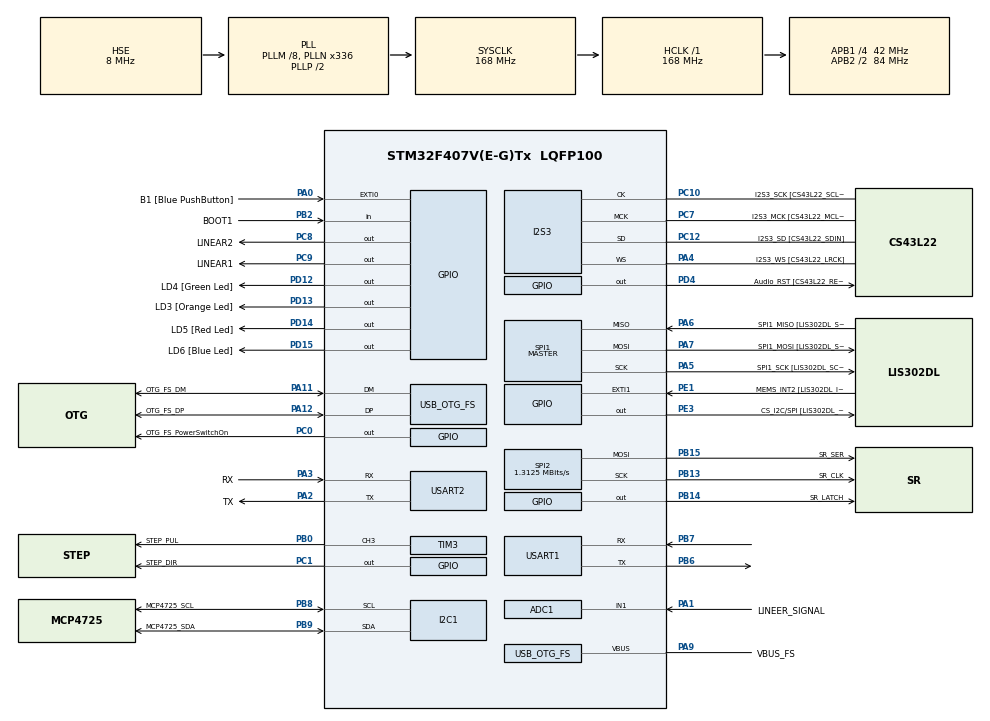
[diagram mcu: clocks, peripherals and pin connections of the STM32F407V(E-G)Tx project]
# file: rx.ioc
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ADC1.Channel-0\#ChannelRegularConversion=ADC_CHANNEL_1
ADC1.NbrOfConversionFlag=1
ADC1.Rank-0\#ChannelRegularConversion=1
ADC1.SamplingTime-0\#ChannelRegularConversion=ADC_SAMPLETIME_3CYCLES
ADC1.master=1
Dma.Request0=USART2_RX
Dma.USART2_RX.0.Direction=DMA_PERIPH_TO_MEMORY
Dma.USART2_RX.0.FIFOMode=DMA_FIFOMODE_DISABLE
Dma.USART2_RX.0.Instance=DMA1_Stream5
Dma.USART2_RX.0.MemDataAlignment=DMA_MDATAALIGN_BYTE
Dma.USART2_RX.0.MemInc=DMA_MINC_ENABLE
Dma.USART2_RX.0.Mode=DMA_NORMAL
Dma.USART2_RX.0.PeriphDataAlignment=DMA_PDATAALIGN_BYTE
Dma.USART2_RX.0.PeriphInc=DMA_PINC_DISABLE
Dma.USART2_RX.0.Priority=DMA_PRIORITY_LOW
FREERTOS.Tasks01=defaultTask,24,128,StartDefaultTask,Default,NULL,Dynamic,NULL,NULL
FREERTOS.configENABLE_FPU=1
I2S3.AudioFreq-Half_Duplex_Master=I2S_AUDIOFREQ_96K
I2S3.ErrorAudioFreq=-2.34 %
I2S3.ErrorAudioFreq-Half_Duplex_Master=0.8 %
I2S3.FullDuplexMode=I2S_FULLDUPLEXMODE_DISABLE
I2S3.Instance=SPI$Index
I2S3.RealAudioFreq=93.75 KHz
I2S3.RealAudioFreq-Half_Duplex_Master=96.774 KHz
I2S3.VirtualMode=I2S_MODE_MASTER
Mcu.Family=STM32F4
Mcu.Name=STM32F407V(E-G)Tx
Mcu.Package=LQFP100
NVIC.DMA1_Stream5_IRQn=true\:5\:0\:false\:false\:true\:true\:false\:true\:true
NVIC.OTG_FS_IRQn=true\:5\:0\:false\:false\:true\:true\:true\:true\:true
NVIC.PriorityGroup=NVIC_PRIORITYGROUP_4
NVIC.USART1_IRQn=true\:5\:0\:false\:false\:true\:true\:true\:true\:true
NVIC.USART2_IRQn=true\:5\:0\:false\:false\:true\:true\:true\:true\:true
PA0-WKUP.GPIO_Label=B1 [Blue PushButton]
PA0-WKUP.GPIO_ModeDefaultEXTI=GPIO_MODE_EVT_RISING
PA0-WKUP.GPIO_PuPd=GPIO_NOPULL
PA0-WKUP.Signal=GPXTI0
PA1.GPIO_Label=LINEER_SIGNAL
PA1.Signal=ADCx_IN1
PA10.GPIO_Label=OTG_FS_ID
PA10.GPIO_Mode=GPIO_MODE_AF_PP
PA10.GPIO_PuPd=GPIO_NOPULL
PA10.GPIO_Speed=GPIO_SPEED_FREQ_LOW
PA10.Signal=USB_OTG_FS_ID
PA11.GPIO_Label=OTG_FS_DM
PA11.GPIO_Mode=GPIO_MODE_AF_PP
PA11.GPIO_PuPd=GPIO_NOPULL
PA11.GPIO_Speed=GPIO_SPEED_FREQ_LOW
PA11.Mode=Host_Only
PA11.Signal=USB_OTG_FS_DM
PA12.GPIO_Label=OTG_FS_DP
PA12.GPIO_Mode=GPIO_MODE_AF_PP
PA12.GPIO_PuPd=GPIO_NOPULL
PA12.GPIO_Speed=GPIO_SPEED_FREQ_LOW
PA12.Mode=Host_Only
PA12.Signal=USB_OTG_FS_DP
PA13.GPIO_Label=SWDIO
PA13.Mode=Serial_Wire
PA13.Signal=SYS_JTMS-SWDIO
PA14.GPIO_Label=SWCLK
PA14.Mode=Serial_Wire
PA14.Signal=SYS_JTCK-SWCLK
PA2.GPIO_Label=TX
PA2.Mode=Asynchronous
PA2.Signal=USART2_TX
PA3.GPIO_Label=RX
PA3.Mode=Asynchronous
PA3.Signal=USART2_RX
PA4.GPIO_Label=I2S3_WS [CS43L22_LRCK]
PA4.GPIO_Mode=GPIO_MODE_AF_PP
PA4.GPIO_PuPd=GPIO_NOPULL
PA4.GPIO_Speed=GPIO_SPEED_FREQ_LOW
PA4.Mode=Half_Duplex_Master
PA4.Signal=I2S3_WS
PA5.GPIO_Label=SPI1_SCK [LIS302DL_SCL/SPC]
PA5.GPIO_Mode=GPIO_MODE_AF_PP
PA5.GPIO_PuPd=GPIO_NOPULL
PA5.GPIO_Speed=GPIO_SPEED_FREQ_LOW
PA5.Mode=Full_Duplex_Master
PA5.Signal=SPI1_SCK
PA6.GPIO_Label=SPI1_MISO [LIS302DL_SDO]
PA6.GPIO_Mode=GPIO_MODE_AF_PP
PA6.GPIO_PuPd=GPIO_NOPULL
PA6.GPIO_Speed=GPIO_SPEED_FREQ_LOW
PA6.Mode=Full_Duplex_Master
PA6.Signal=SPI1_MISO
PA7.GPIO_Label=SPI1_MOSI [LIS302DL_SDA/SDI/SDO]
PA7.GPIO_Mode=GPIO_MODE_AF_PP
PA7.GPIO_PuPd=GPIO_NOPULL
PA7.GPIO_Speed=GPIO_SPEED_FREQ_LOW
PA7.Mode=Full_Duplex_Master
PA7.Signal=SPI1_MOSI
PA9.GPIO_Label=VBUS_FS
PA9.GPIO_Mode=GPIO_MODE_INPUT
PA9.GPIO_PuPd=GPIO_NOPULL
PA9.Mode=Activate_VBUS
PA9.Signal=USB_OTG_FS_VBUS
PB0.GPIO_Label=STEP_PUL
PB0.Signal=S_TIM3_CH3
PB10.GPIO_Label=CLK_IN [MP45DT02_CLK]
PB10.GPIO_Mode=GPIO_MODE_AF_PP
PB10.GPIO_PuPd=GPIO_NOPULL
PB10.GPIO_Speed=GPIO_SPEED_FREQ_LOW
PB10.Signal=I2S2_CK
PB13.GPIO_Label=SR_CLK
PB13.Mode=TX_Only_Simplex_Unidirect_Master
PB13.Signal=SPI2_SCK
PB14.GPIO_Label=SR_LATCH
PB14.Signal=GPIO_Output
PB15.GPIO_Label=SR_SER
PB15.Mode=TX_Only_Simplex_Unidirect_Master
PB15.Signal=SPI2_MOSI
PB2.GPIO_Label=BOOT1
PB2.GPIO_Mode=GPIO_MODE_INPUT
PB2.GPIO_PuPd=GPIO_NOPULL
PB2.Signal=GPIO_Input
PB3.GPIO_Label=SWO
PB3.Signal=SYS_JTDO-SWO
PB6.Mode=Asynchronous
PB6.Signal=USART1_TX
PB7.Mode=Asynchronous
PB7.Signal=USART1_RX
PB8.GPIO_Label=MCP4725_SCL
PB8.Mode=I2C
PB8.Signal=I2C1_SCL
PB9.GPIO_Label=MCP4725_SDA
PB9.Mode=I2C
PB9.Signal=I2C1_SDA
PC0.GPIO_Label=OTG_FS_PowerSwitchOn
PC0.GPIO_PuPd=GPIO_NOPULL
PC0.GPIO_Speed=GPIO_SPEED_FREQ_LOW
PC0.PinState=GPIO_PIN_SET
PC0.Signal=GPIO_Output
PC1.GPIO_Label=STEP_DIR
PC1.Signal=GPIO_Output
PC10.GPIO_Label=I2S3_SCK [CS43L22_SCLK]
PC10.GPIO_Mode=GPIO_MODE_AF_PP
PC10.GPIO_PuPd=GPIO_NOPULL
PC10.GPIO_Speed=GPIO_SPEED_FREQ_LOW
PC10.Mode=Half_Duplex_Master
PC10.Signal=I2S3_CK
PC12.GPIO_Label=I2S3_SD [CS43L22_SDIN]
PC12.GPIO_Mode=GPIO_MODE_AF_PP
PC12.GPIO_PuPd=GPIO_NOPULL
PC12.GPIO_Speed=GPIO_SPEED_FREQ_LOW
PC12.Mode=Half_Duplex_Master
PC12.Signal=I2S3_SD
PC14-OSC32_IN.GPIO_Label=PC14-OSC32_IN
PC14-OSC32_IN.Mode=LSE-External-Oscillator
PC14-OSC32_IN.Signal=RCC_OSC32_IN
PC15-OSC32_OUT.GPIO_Label=PC15-OSC32_OUT
PC15-OSC32_OUT.Mode=LSE-External-Oscillator
PC15-OSC32_OUT.Signal=RCC_OSC32_OUT
PC3.GPIO_Label=PDM_OUT [MP45DT02_DOUT]
PC3.GPIO_Mode=GPIO_MODE_AF_PP
PC3.GPIO_PuPd=GPIO_NOPULL
PC3.GPIO_Speed=GPIO_SPEED_FREQ_LOW
PC3.Signal=I2S2_SD
PC7.GPIO_Label=I2S3_MCK [CS43L22_MCLK]
PC7.GPIO_Mode=GPIO_MODE_AF_PP
PC7.GPIO_PuPd=GPIO_NOPULL
PC7.GPIO_Speed=GPIO_SPEED_FREQ_LOW
PC7.Mode=Master_Clock_Activated
PC7.Signal=I2S3_MCK
PC8.GPIO_Label=LINEAR2
PC8.Signal=GPIO_Output
PC9.GPIO_Label=LINEAR1
PC9.Signal=GPIO_Output
PD12.GPIO_Label=LD4 [Green Led]
PD12.GPIO_PuPd=GPIO_NOPULL
PD12.GPIO_Speed=GPIO_SPEED_FREQ_LOW
PD12.Signal=GPIO_Output
PD13.GPIO_Label=LD3 [Orange Led]
PD13.GPIO_PuPd=GPIO_NOPULL
PD13.GPIO_Speed=GPIO_SPEED_FREQ_LOW
PD13.Signal=GPIO_Output
PD14.GPIO_Label=LD5 [Red Led]
PD14.GPIO_PuPd=GPIO_NOPULL
PD14.GPIO_Speed=GPIO_SPEED_FREQ_LOW
PD14.Signal=GPIO_Output
PD15.GPIO_Label=LD6 [Blue Led]
PD15.GPIO_PuPd=GPIO_NOPULL
PD15.GPIO_Speed=GPIO_SPEED_FREQ_LOW
PD15.Signal=GPIO_Output
PD4.GPIO_Label=Audio_RST [CS43L22_RESET]
PD4.GPIO_PuPd=GPIO_NOPULL
PD4.GPIO_Speed=GPIO_SPEED_FREQ_LOW
PD4.Signal=GPIO_Output
PE1.GPIO_Label=MEMS_INT2 [LIS302DL_INT2]
PE1.GPIO_ModeDefaultEXTI=GPIO_MODE_EVT_RISING
PE1.GPIO_PuPd=GPIO_NOPULL
PE1.Signal=GPXTI1
PE3.GPIO_Label=CS_I2C/SPI [LIS302DL_CS_I2C/SPI]
PE3.GPIO_PuPd=GPIO_NOPULL
PE3.GPIO_Speed=GPIO_SPEED_FREQ_LOW
PE3.Signal=GPIO_Output
PH0-OSC_IN.GPIO_Label=PH0-OSC_IN
PH0-OSC_IN.Mode=HSE-External-Oscillator
PH0-OSC_IN.Signal=RCC_OSC_IN
PH1-OSC_OUT.GPIO_Label=PH1-OSC_OUT
PH1-OSC_OUT.Mode=HSE-External-Oscillator
PH1-OSC_OUT.Signal=RCC_OSC_OUT
ProjectManager.HeapSize=0x200
ProjectManager.StackSize=0x400
ProjectManager.TargetToolchain=CMake
RCC.48MHZClocksFreq_Value=48000000
RCC.AHBFreq_Value=168000000
RCC.APB1CLKDivider=RCC_HCLK_DIV4
RCC.APB1Freq_Value=42000000
RCC.APB1TimFreq_Value=84000000
RCC.APB2CLKDivider=RCC_HCLK_DIV2
RCC.APB2Freq_Value=84000000
RCC.APB2TimFreq_Value=168000000
RCC.CortexFreq_Value=168000000
RCC.HCLKFreq_Value=168000000
RCC.HSE_VALUE=8000000
RCC.HSI_VALUE=16000000
RCC.PLLM=8
RCC.PLLN=336
RCC.PLLQ=7
RCC.SYSCLKFreq_VALUE=168000000
RCC.SYSCLKSource=RCC_SYSCLKSOURCE_PLLCLK
RCC.VCOOutputFreq_Value=336000000
SH.ADCx_IN1.0=ADC1_IN1,IN1
SH.S_TIM3_CH3.0=TIM3_CH3,PWM Generation3 CH3
SPI1.BaudRatePrescaler-Full_Duplex_Master=SPI_BAUDRATEPRESCALER_2
SPI1.CalculateBaudRate-Full_Duplex_Master=42.0 MBits/s
SPI1.Direction=SPI_DIRECTION_2LINES
SPI1.Mode=SPI_MODE_MASTER
SPI1.Mode-Full_Duplex_Master=SPI_MODE_MASTER
SPI1.VirtualType=VM_MASTER
SPI2.BaudRatePrescaler=SPI_BAUDRATEPRESCALER_32
SPI2.CalculateBaudRate=1.3125 MBits/s
SPI2.Direction=SPI_DIRECTION_2LINES
SPI2.Mode=SPI_MODE_MASTER
SPI2.VirtualType=VM_MASTER
TIM3.Channel-PWM\ Generation3\ CH3=TIM_CHANNEL_3
TIM3.Period=9
TIM3.Prescaler=83
USART1.VirtualMode=VM_ASYNC
USART2.VirtualMode=VM_ASYNC
USB_HOST.BSP.number=1
USB_HOST.USBH_HandleTypeDef-CDC_FS=hUsbHostFS
USB_HOST.VirtualModeFS=Cdc
USB_HOST0.BSP.STBoard=false
USB_HOST0.BSP.api=Unknown
USB_HOST0.BSP.instance=PC0
USB_HOST0.BSP.ip=GPIO
USB_HOST0.BSP.mode=Output
USB_HOST0.BSP.name=Drive_VBUS_FS
USB_HOST0.BSP.solution=PC0
USB_OTG_FS.VirtualMode=Host_Only
USB_OTG_FS.phy_itface=HCD_PHY_EMBEDDED
VP_FREERTOS_VS_CMSIS_V2.Mode=CMSIS_V2
VP_TIM3_VS_ClockSourceINT.Mode=Internal
VP_USB_HOST_VS_USB_HOST_CDC_FS.Mode=CDC_FS
board=STM32F407G-DISC1

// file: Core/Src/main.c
/* USER CODE BEGIN Header */
/**
  ******************************************************************************
  * @file           : main.c
  * @brief          : Main program body
  ******************************************************************************
  * @attention
  *
  * Copyright (c) 2026 STMicroelectronics.
  * All rights reserved.
  *
  * This software is licensed under terms that can be found in the LICENSE file
  * in the root directory of this software component.
  * If no LICENSE file comes with this software, it is provided AS-IS.
  *
  ******************************************************************************
  */
/* USER CODE END Header */
#include "main.h"
#include "cmsis_os.h"
#include "adc.h"
#include "dma.h"
#include "i2c.h"
#include "i2s.h"
#include "spi.h"
#include "tim.h"
#include "usart.h"
#include "usb_host.h"
#include "gpio.h"

/* USER CODE BEGIN Includes */
#include <stdio.h>
#include "rc.h"
/* USER CODE END Includes */

/* USER CODE BEGIN PV */

/* rcTask artik rc.c modulunde tanimli (RCInput_Init ile yaratiliyor). */

/* Definitions for debugTask: UART uzerinden durum yazdirma */
osThreadId_t debugTaskHandle;
const osThreadAttr_t debugTask_attributes = {
  .name = "debugTask",
  .stack_size = 256 * 4,
  .priority = (osPriority_t) osPriorityLow,
};

/* stepTask artik step_control.c modulunde (StepControl_Init ile yaratiliyor). */

/* USER CODE END PV */

void SystemClock_Config(void);
void MX_FREERTOS_Init(void);
/* USER CODE BEGIN PFP */
int __io_putchar(int ch)
{
  ITM_SendChar((uint32_t)ch);
  return ch;
}

/* Yardimci fonksiyonlar */
static void  DebugPrint(void);

/* Task fonksiyonlari */
void StartDebugTask(void *argument);
/* USER CODE END PFP */

/* USER CODE BEGIN 0 */

/* Task periyotlari (ms) - tek yerden ayarlanir */
#define DEBUG_TASK_PERIOD_MS    50u

/* USER CODE END 0 */

int main(void)
{

  /* MCU Configuration--------------------------------------------------------*/

  /* Reset of all peripherals, Initializes the Flash interface and the Systick. */
  HAL_Init();

  /* Configure the system clock */
  SystemClock_Config();

  /* USER CODE BEGIN SysInit */

  /* DWT cycle counter'i MX_GPIO_Init()'ten ONCE etkinlestiriyoruz.
     Sebep: MX_GPIO_Init() EXTI kesmelerini (RC kanal pinleri) aktif ediyor.
     DWT bundan once sayima baslamazsa, ilk gelen RC kenarlarinda
     HAL_GPIO_EXTI_Callback() icindeki DWT->CYCCNT hep 0 okunur ve
     pulse hesaplamasi yanlis/sifir cikar. Ayrica SystemClock_Config()'ten
     SONRA acildigi icin sayac doğru hizda (168 MHz) saymaya basliyor. */
  CoreDebug->DEMCR |= CoreDebug_DEMCR_TRCENA_Msk;
  DWT->CYCCNT = 0;
  DWT->CTRL  |= DWT_CTRL_CYCCNTENA_Msk;

  /* USER CODE END SysInit */

  /* Initialize all configured peripherals */
  MX_GPIO_Init();
  MX_DMA_Init();
  MX_I2C1_Init();
  MX_I2S3_Init();
  MX_SPI1_Init();
  MX_USART2_UART_Init();
  MX_ADC1_Init();
  MX_TIM3_Init();
  MX_SPI2_Init();
  MX_USART1_UART_Init();
  /* USER CODE BEGIN 2 */
  /* TIM3 CH3 PWM baslangic konfigurasyonu StepControl_Init() icinde yapiliyor. */
  setvbuf(stdout, NULL, _IONBF, 0);
  /* USER CODE END 2 */

  /* Init scheduler */
  osKernelInitialize();  /* Call init function for freertos objects (in cmsis_os2.c) */
  MX_FREERTOS_Init();

  /* Start scheduler */
  osKernelStart();

  /* We should never get here as control is now taken by the scheduler */

  /* Infinite loop */
  while (1)
  {

    /* USER CODE BEGIN 3 */
    /* Tum uygulama mantigi artik task'larda (RC/Control/Debug task).
       Buraya kasten hicbir is birakilmadi - osKernelStart() normalde
       zaten geri donmez. */
  }
  /* USER CODE END 3 */
}

void SystemClock_Config(void)
{
  RCC_OscInitTypeDef RCC_OscInitStruct = {0};
  RCC_ClkInitTypeDef RCC_ClkInitStruct = {0};

  /** Configure the main internal regulator output voltage
  */
  __HAL_RCC_PWR_CLK_ENABLE();
  __HAL_PWR_VOLTAGESCALING_CONFIG(PWR_REGULATOR_VOLTAGE_SCALE1);

  /** Initializes the RCC Oscillators according to the specified parameters
  * in the RCC_OscInitTypeDef structure.
  */
  RCC_OscInitStruct.OscillatorType = RCC_OSCILLATORTYPE_HSE;
  RCC_OscInitStruct.HSEState = RCC_HSE_ON;
  RCC_OscInitStruct.PLL.PLLState = RCC_PLL_ON;
  RCC_OscInitStruct.PLL.PLLSource = RCC_PLLSOURCE_HSE;
  RCC_OscInitStruct.PLL.PLLM = 8;
  RCC_OscInitStruct.PLL.PLLN = 336;
  RCC_OscInitStruct.PLL.PLLP = RCC_PLLP_DIV2;
  RCC_OscInitStruct.PLL.PLLQ = 7;
  if (HAL_RCC_OscConfig(&RCC_OscInitStruct) != HAL_OK)
  {
    Error_Handler();
  }

  /** Initializes the CPU, AHB and APB buses clocks
  */
  RCC_ClkInitStruct.ClockType = RCC_CLOCKTYPE_HCLK|RCC_CLOCKTYPE_SYSCLK
                              |RCC_CLOCKTYPE_PCLK1|RCC_CLOCKTYPE_PCLK2;
  RCC_ClkInitStruct.SYSCLKSource = RCC_SYSCLKSOURCE_PLLCLK;
  RCC_ClkInitStruct.AHBCLKDivider = RCC_SYSCLK_DIV1;
  RCC_ClkInitStruct.APB1CLKDivider = RCC_HCLK_DIV4;
  RCC_ClkInitStruct.APB2CLKDivider = RCC_HCLK_DIV2;

  if (HAL_RCC_ClockConfig(&RCC_ClkInitStruct, FLASH_LATENCY_5) != HAL_OK)
  {
    Error_Handler();
  }
}

/* USER CODE BEGIN 4 */
/* ---------------------------------------------------------------------
 * DebugPrint
 * UART üzerinden RC kanal pozisyonlarini yazdırır. Throttle gerekmiyor
 * cunku Debug_Task zaten DEBUG_TASK_PERIOD_MS periyodunda cagiriyor.
 * ------------------------------------------------------------------- */
static void DebugPrint(void)
{
    printf("CH %%: %3d %3d %3d %3d %3d %3d\r\n",
        (int)RCInput_GetPosPct(0), (int)RCInput_GetPosPct(1), (int)RCInput_GetPosPct(2),
        (int)RCInput_GetPosPct(3), (int)RCInput_GetPosPct(4), (int)RCInput_GetPosPct(5));
}

/* =======================================================================
 * TASK: Debug_Task
 * UART uzerinden durumu yazdirir. En dusuk oncelikte cunku zamanlamasi
 * kritik degil, sadece gozlem amacli.
 * ===================================================================== */
void StartDebugTask(void *argument)
{
  for(;;)
  {
    DebugPrint();

    osDelay(DEBUG_TASK_PERIOD_MS);
  }
}

/* USER CODE END 4 */

void Error_Handler(void)
{
  __disable_irq();
  while (1)
  {
  }
}

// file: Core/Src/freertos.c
/* USER CODE BEGIN Header */
/**
  ******************************************************************************
  * File Name          : freertos.c
  * Description        : Code for freertos applications
  ******************************************************************************
  * @attention
  *
  * Copyright (c) 2026 STMicroelectronics.
  * All rights reserved.
  *
  * This software is licensed under terms that can be found in the LICENSE file
  * in the root directory of this software component.
  * If no LICENSE file comes with this software, it is provided AS-IS.
  *
  ******************************************************************************
  */
/* USER CODE END Header */

#include "FreeRTOS.h"
#include "task.h"
#include "main.h"
#include "cmsis_os.h"

/* USER CODE BEGIN Includes */
#include "rc.h"
#include "control.h"
#include "step_control.h"
#include "mcp4725.h"
#include "linear.h"
#include "aux_control.h"
#include "i2c.h"
#include "sr_control.h"
#include "spi.h"
#include "pc_control.h"
/* USER CODE END Includes */

/* USER CODE BEGIN Variables */
/* debugTask main.c icinde tanimli, burada sadece referans veriyoruz */
extern osThreadId_t debugTaskHandle;
extern const osThreadAttr_t debugTask_attributes;
extern void StartDebugTask(void *argument);
/* USER CODE END Variables */
/* Definitions for defaultTask */
osThreadId_t defaultTaskHandle;
const osThreadAttr_t defaultTask_attributes = {
  .name = "defaultTask",
  .stack_size = 128 * 4,
  .priority = (osPriority_t) osPriorityNormal,
};

void StartDefaultTask(void *argument);

extern void MX_USB_HOST_Init(void);
void MX_FREERTOS_Init(void); /* (MISRA C 2004 rule 8.1) */

void MX_FREERTOS_Init(void) {

  /* Create the thread(s) */
  /* creation of defaultTask */
  defaultTaskHandle = osThreadNew(StartDefaultTask, NULL, &defaultTask_attributes);

  /* USER CODE BEGIN RTOS_THREADS */
  /* Once suruculer/girisler, sonra subsystem'ler (Control_Register ile
     kendilerini kaydederler), en son Control_Init() scheduler'i baslatir. */
  SR_Init(&hspi2);
  RCInput_Init();
  PCControl_Init();
  // debugTaskHandle = osThreadNew(StartDebugTask, NULL, &debugTask_attributes);

  StepControl_Init();
  MCP4725_Init(&hi2c1);
  Linear_Init();
  AuxControl_Init();

  Control_Init();
  /* USER CODE END RTOS_THREADS */

}

void StartDefaultTask(void *argument)
{
  /* init code for USB_HOST */
  MX_USB_HOST_Init();
  for(;;)
  {
    osDelay(1);
  }
}
